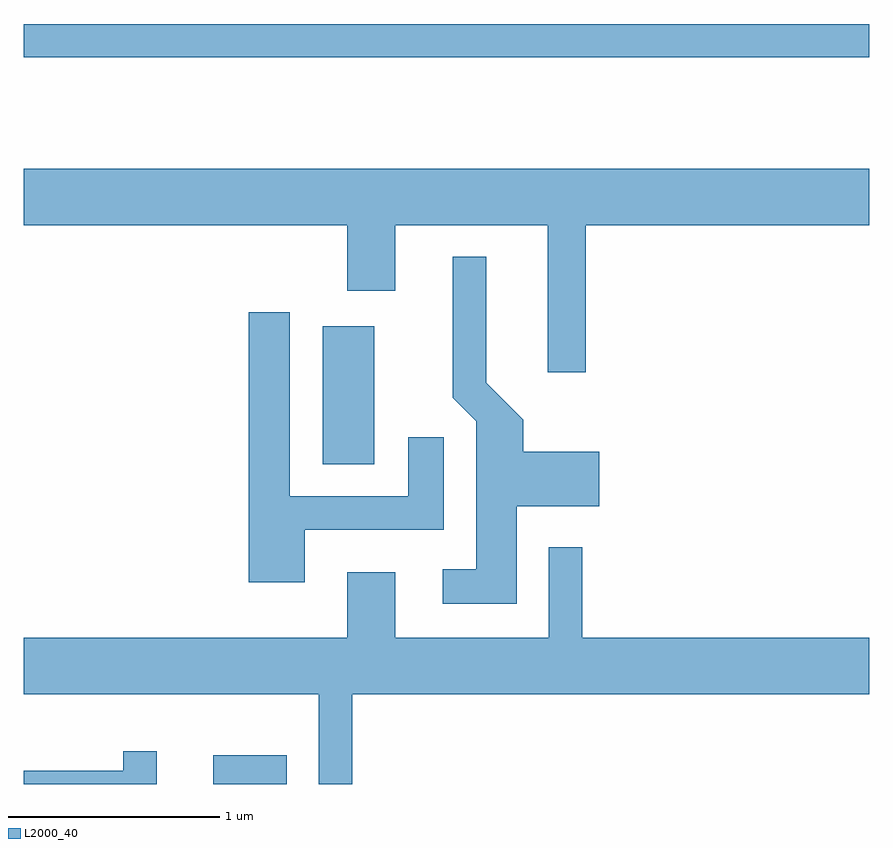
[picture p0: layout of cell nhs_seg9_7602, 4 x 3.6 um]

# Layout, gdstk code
import gdstk
lib = gdstk.Library(unit=1e-6, precision=1e-09)
def R(c, l, rs):  # rectangles x0, y0, x1, y1
    for r in rs: c.add(gdstk.rectangle(r[:2], r[2:], *l))
def P(c, l, *ps):  # polygons
    for p in ps: c.add(gdstk.Polygon(p, *l))
L2000_40 = (2000, 40)

nhs_seg9_7602 = lib.new_cell('nhs_seg9_7602')
R(nhs_seg9_7602, L2000_40, [(410.506,2062.432,410.854,2062.569), (411.026,2063.946,411.269,2064.599), (409.611,2065.871,413.611,2066.029)])
P(nhs_seg9_7602, L2000_40, [(412.269,2065.076),(413.611,2065.076),(413.611,2065.344),(409.611,2065.344),(409.611,2065.076),(411.141,2065.076),(411.141,2064.766),(411.369,2064.766),(411.369,2065.076),(412.091,2065.076),(412.091,2064.381),(412.269,2064.381)],
  [(411.944,2063.746),(412.334,2063.746),(412.334,2064.004),(411.974,2064.004),(411.974,2064.157),(411.799,2064.332),(411.799,2064.928),(411.641,2064.928),(411.641,2064.259),(411.751,2064.149),(411.751,2063.449),(411.593,2063.449),(411.593,2063.286),(411.944,2063.286)],
  [(410.939,2063.636),(411.599,2063.636),(411.599,2064.073),(411.431,2064.073),(411.431,2063.794),(410.869,2063.794),(410.869,2064.664),(410.676,2064.664),(410.676,2063.386),(410.939,2063.386)],
  [(411.164,2062.856),(413.611,2062.856),(413.611,2063.124),(412.254,2063.124),(412.254,2063.553),(412.096,2063.553),(412.096,2063.124),(411.369,2063.124),(411.369,2063.434),(411.141,2063.434),(411.141,2063.124),(409.611,2063.124),(409.611,2062.856),(411.006,2062.856),(411.006,2062.432),(411.164,2062.432)],
  [(410.239,2062.588),(410.081,2062.588),(410.081,2062.494),(409.611,2062.494),(409.611,2062.432),(410.239,2062.432)])

lib.write_gds('nhs_seg9_7602.gds')
